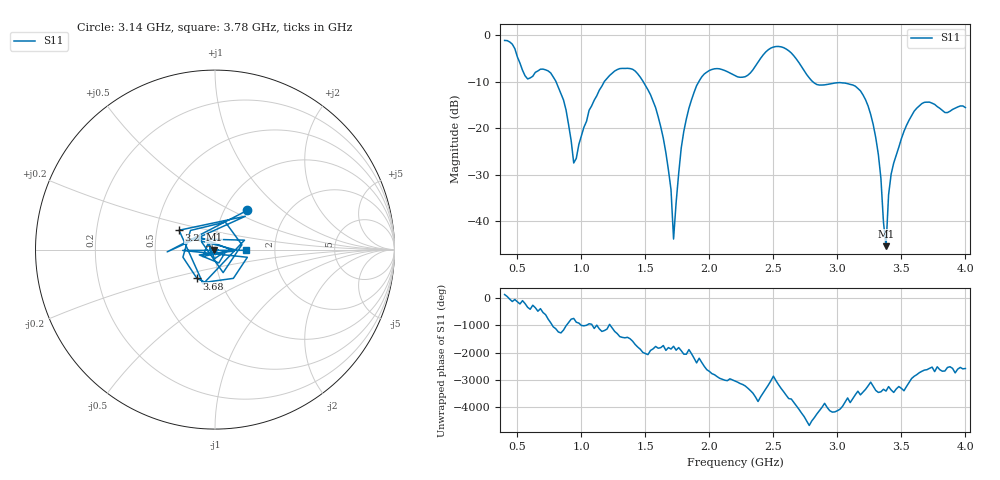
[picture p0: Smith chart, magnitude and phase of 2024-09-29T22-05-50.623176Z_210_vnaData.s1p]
!Created with skrf (http://scikit-rf.org).
# Hz S RI R 50.0
!freq ReS11 ImS11
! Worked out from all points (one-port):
!   181 points, 400 MHz to 4 GHz, reference 50 ohm
!   lowest |S11| = -45.3 dB at 3.38 GHz (marker M1), VSWR 1.01, Z = 49.5 - j0.0586 ohm
!   |S11| at or under -10 dB: 801.2 MHz to 1.179 GHz (378.1 MHz wide, 38.2 % of centre); 1.482 GHz to 1.918 GHz (435.7 MHz wide, 25.6 % of centre); 2.806 GHz to end of sweep
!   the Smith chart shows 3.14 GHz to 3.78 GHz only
!   S11 on the Smith chart (normalised r, x): 3.14 GHz: 1.27, +0.60; 3.2 GHz: 0.65, +0.15; 3.68 GHz: 0.78, -0.26; 3.78 GHz: 1.41, -0.01
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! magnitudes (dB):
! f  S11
! 400 MHz  -1.2
! 580 MHz  -9.4
! 740 MHz  -7.7
! 860 MHz  -13.9
! 940 MHz  -27.5
! 1.06 GHz  -16.2
! 1.3 GHz  -7.2
! 1.58 GHz  -15.6
! 1.68 GHz  -29.0
! 1.72 GHz  -43.8
! 1.76 GHz  -29.7
! 1.82 GHz  -18.0
! 1.92 GHz  -9.9
! 2.2 GHz  -8.7
! 2.5 GHz  -2.6
! 2.66 GHz  -4.5
! 2.84 GHz  -10.6
! 3.1 GHz  -10.6
! 3.14 GHz  -11.0
! 3.2 GHz  -12.9
! 3.32 GHz  -25.6
! 3.38 GHz  -45.3
! 3.4 GHz  -34.3
! 3.42 GHz  -29.8
! 3.56 GHz  -18.3
! 3.68 GHz  -14.5
! 3.78 GHz  -15.4
! 4 GHz  -15.6
